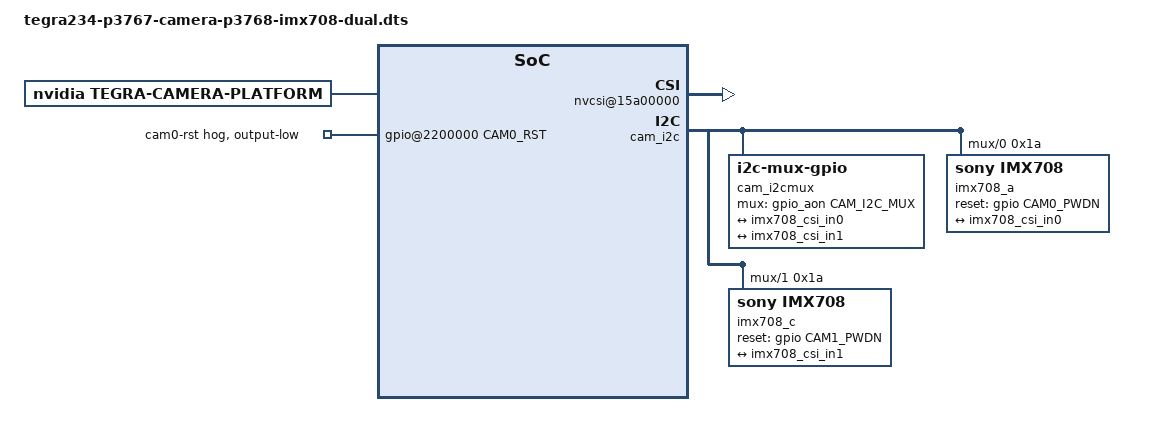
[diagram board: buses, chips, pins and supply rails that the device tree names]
// SPDX-License-Identifier: GPL-2.0-only
// SPDX-FileCopyrightText: Copyright (c) 2023-2024, NVIDIA CORPORATION & AFFILIATES. All rights reserved.
// SPDX-FileCopyrightText: Copyright (c) 2023, RidgeRun. All rights reserved.
//
// IMX708 (Raspberry Pi / Arducam Camera Module 3) dual-camera overlay for the
// dev-kit-wired ARK carriers (PAB_V3, JAJ): GPIO-controlled i2c mux, serial_a +
// serial_c on ports 0/2. Wiring mirrors the rbpcv2 IMX219 dual; sensor nodes and
// mode0 come from RidgeRun's IMX708 driver. One 10-bit mode, 4608x2592 @ ~14 fps,
// fixed focus. (PAB uses a different 4x2-lane overlay — see imx708-quad.)

/dts-v1/;
/plugin/;

#define CAM0_RST	TEGRA234_MAIN_GPIO(H, 3)
#define CAM0_PWDN	TEGRA234_MAIN_GPIO(H, 6)
#define CAM1_PWDN	TEGRA234_MAIN_GPIO(AC, 0)
#define CAM_I2C_MUX	TEGRA234_AON_GPIO(CC, 3)

#include <dt-bindings/tegra234-p3767-0000-common.h>

/ {
	overlay-name = "Camera IMX708 Dual";
	jetson-header-name = "Jetson 22pin CSI Connector";
	compatible = JETSON_COMPATIBLE_P3768;

	fragment-camera@0 {
		target-path = "/";
		__overlay__ {
			tegra-capture-vi {
				num-channels = <2>;
				ports {
					#address-cells = <1>;
					#size-cells = <0>;
					port@0 {
						reg = <0>;
						imx708_vi_in0: endpoint {
							port-index = <0>;
							bus-width = <2>;
							remote-endpoint = <&imx708_csi_out0>;
						};
					};
					port@1 {
						reg = <1>;
						imx708_vi_in1: endpoint {
							port-index = <2>;
							bus-width = <2>;
							remote-endpoint = <&imx708_csi_out1>;
						};
					};
				};
			};
			tegra-camera-platform {
				compatible = "nvidia, tegra-camera-platform";
				num_csi_lanes = <4>;
				max_lane_speed = <2500000>;	/* imx708 pixel clock is 297.6 MHz vs imx219's 182.4 MHz */
				min_bits_per_pixel = <10>;
				vi_peak_byte_per_pixel = <2>;
				vi_bw_margin_pct = <25>;
				max_pixel_rate = <240000>;	/* per-stream ~167 Mpix/s, same as imx219 */
				isp_peak_byte_per_pixel = <5>;
				isp_bw_margin_pct = <25>;
				modules {
					module0 {
						badge = "ark_imx708_front_IMX708";
						position = "front";
						orientation = "1";
						drivernode0 {
							pcl_id = "v4l2_sensor";
							sysfs-device-tree = "/sys/firmware/devicetree/base/bus@0/cam_i2cmux/i2c@0/imx708_a@1a";
						};
					};
					module1 {
						badge = "ark_imx708_rear_IMX708";
						position = "rear";
						orientation = "1";
						drivernode0 {
							pcl_id = "v4l2_sensor";
							sysfs-device-tree = "/sys/firmware/devicetree/base/bus@0/cam_i2cmux/i2c@1/imx708_c@1a";
						};
					};
				};
			};
			bus@0 {
				host1x@13e00000 {
					nvcsi@15a00000 {
						num-channels = <2>;
						#address-cells = <1>;
						#size-cells = <0>;
						status = "okay";
						channel@0 {
							reg = <0>;
							ports {
								#address-cells = <1>;
								#size-cells = <0>;
								port@0 {
									reg = <0>;
									imx708_csi_in0: endpoint@0 {
										port-index = <0>;
										bus-width = <2>;
										remote-endpoint = <&imx708_out0>;
									};
								};
								port@1 {
									reg = <1>;
									imx708_csi_out0: endpoint@1 {
										remote-endpoint = <&imx708_vi_in0>;
									};
								};
							};
						};
						channel@1 {
							reg = <1>;
							ports {
								#address-cells = <1>;
								#size-cells = <0>;
								port@0 {
									reg = <0>;
									imx708_csi_in1: endpoint@2 {
										port-index = <2>;
										bus-width = <2>;
										remote-endpoint = <&imx708_out1>;
									};
								};
								port@1 {
									reg = <1>;
									imx708_csi_out1: endpoint@3 {
										remote-endpoint = <&imx708_vi_in1>;
									};
								};
							};
						};
					};
				};
				cam_i2cmux {
					status = "okay";
					compatible = "i2c-mux-gpio";
					#address-cells = <1>;
					#size-cells = <0>;
					i2c-parent = <&cam_i2c>;
					mux-gpios = <&gpio_aon CAM_I2C_MUX GPIO_ACTIVE_HIGH>;
					i2c@0 {
						status = "okay";
						reg = <0>;
						#address-cells = <1>;
						#size-cells = <0>;

						/* Disable the baked-default IMX219 dual on the shared camera i2c-mux so only IMX708 is active. */
						rbpcv2_imx219_a@10 {
							status = "disabled";
						};

						imx708_a@1a {
							status = "okay";
							reset-gpios = <&gpio CAM0_PWDN GPIO_ACTIVE_HIGH>;
							compatible = "sony,imx708";
							reg = <0x1a>;
							devnode = "video0";
							physical_w = "6.45";
							physical_h = "3.63";
							sensor_model = "imx708";
							use_sensor_mode_id = "true";

							mode0 { /* IMX708_MODE_4608x2592_14FPS */
								mclk_khz = "24000";
								num_lanes = "2";
								tegra_sinterface = "serial_a";
								lane_polarity = "6";
								phy_mode = "DPHY";
								discontinuous_clk = "yes";
								dpcm_enable = "false";
								cil_settletime = "0";
								active_w = "4608";
								active_h = "2592";
								mode_type = "bayer";
								pixel_phase = "rggb";
								csi_pixel_bit_depth = "10";
								readout_orientation = "90";
								line_length = "4808";
								inherent_gain = "1";
								pix_clk_hz = "297600000";
								gain_factor = "16";
								framerate_factor = "1000000";
								exposure_factor = "1000000";
								min_gain_val = "16";
								max_gain_val = "256";
								step_gain_val = "1";
								default_gain = "16";
								min_hdr_ratio = "1";
								max_hdr_ratio = "1";
								min_framerate = "2000000";
								max_framerate = "14000000";
								step_framerate = "1";
								default_framerate = "14000000";
								min_exp_time = "500";
								max_exp_time = "65487";
								step_exp_time = "1";
								default_exp_time = "1600";
								embedded_metadata_height = "4";
							};

							ports {
								#address-cells = <1>;
								#size-cells = <0>;
								port@0 {
									reg = <0>;
									imx708_out0: endpoint {
										status = "okay";
										port-index = <0>;
										bus-width = <2>;
										remote-endpoint = <&imx708_csi_in0>;
									};
								};
							};
						};
					};
					i2c@1 {
						status = "okay";
						reg = <1>;
						#address-cells = <1>;
						#size-cells = <0>;

						rbpcv2_imx219_c@10 {
							status = "disabled";
						};

						imx708_c@1a {
							status = "okay";
							reset-gpios = <&gpio CAM1_PWDN GPIO_ACTIVE_HIGH>;
							compatible = "sony,imx708";
							reg = <0x1a>;
							devnode = "video1";
							physical_w = "6.45";
							physical_h = "3.63";
							sensor_model = "imx708";
							use_sensor_mode_id = "true";

							mode0 { /* IMX708_MODE_4608x2592_14FPS */
								mclk_khz = "24000";
								num_lanes = "2";
								tegra_sinterface = "serial_c";
								phy_mode = "DPHY";
								discontinuous_clk = "yes";
								dpcm_enable = "false";
								cil_settletime = "0";
								active_w = "4608";
								active_h = "2592";
								mode_type = "bayer";
								pixel_phase = "rggb";
								csi_pixel_bit_depth = "10";
								readout_orientation = "90";
								line_length = "4808";
								inherent_gain = "1";
								pix_clk_hz = "297600000";
								gain_factor = "16";
								framerate_factor = "1000000";
								exposure_factor = "1000000";
								min_gain_val = "16";
								max_gain_val = "256";
								step_gain_val = "1";
								default_gain = "16";
								min_hdr_ratio = "1";
								max_hdr_ratio = "1";
								min_framerate = "2000000";
								max_framerate = "14000000";
								step_framerate = "1";
								default_framerate = "14000000";
								min_exp_time = "500";
								max_exp_time = "65487";
								step_exp_time = "1";
								default_exp_time = "1600";
								embedded_metadata_height = "4";
							};

							ports {
								#address-cells = <1>;
								#size-cells = <0>;
								port@0 {
									reg = <0>;
									imx708_out1: endpoint {
										status = "okay";
										port-index = <2>;
										bus-width = <2>;
										remote-endpoint = <&imx708_csi_in1>;
									};
								};
							};
						};
					};
				};
				gpio@2200000 {
					camera-control-output-low {
						gpio-hog;
						output-low;
						gpios = <CAM0_RST 0>;
						label = "cam0-rst";
					};
				};
			};
		};
	};
};
